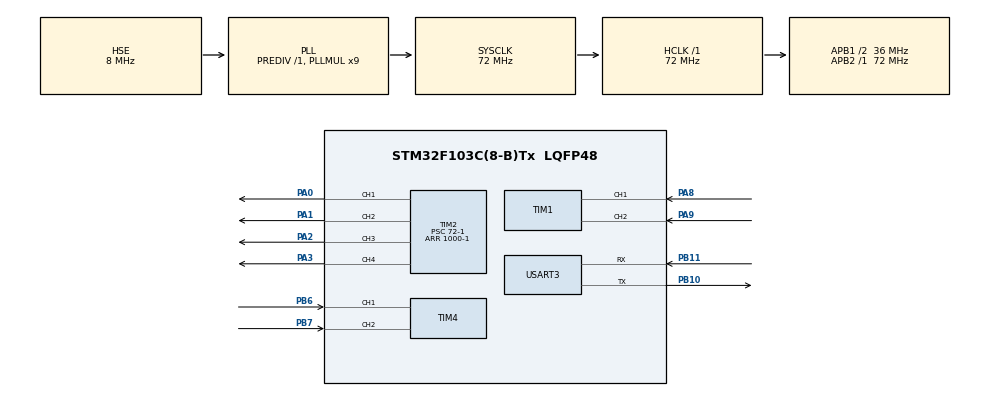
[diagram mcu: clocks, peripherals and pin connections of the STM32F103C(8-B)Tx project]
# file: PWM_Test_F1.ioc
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Mcu.Family=STM32F1
Mcu.Name=STM32F103C(8-B)Tx
Mcu.Package=LQFP48
NVIC.PriorityGroup=NVIC_PRIORITYGROUP_4
NVIC.TIM1_UP_IRQn=true\:0\:0\:false\:false\:true\:true\:true\:true
NVIC.TIM3_IRQn=true\:15\:0\:false\:false\:true\:true\:true\:true
NVIC.TIM4_IRQn=true\:0\:0\:false\:false\:true\:true\:true\:true
NVIC.TimeBase=TIM3_IRQn
NVIC.TimeBaseIP=TIM3
NVIC.USART3_IRQn=true\:0\:0\:false\:false\:true\:true\:true\:true
PA0-WKUP.Signal=S_TIM2_CH1_ETR
PA1.Signal=S_TIM2_CH2
PA13.Mode=Serial_Wire
PA13.Signal=SYS_JTMS-SWDIO
PA14.Mode=Serial_Wire
PA14.Signal=SYS_JTCK-SWCLK
PA2.Signal=S_TIM2_CH3
PA3.Signal=S_TIM2_CH4
PA8.GPIO_PuPd=GPIO_PULLUP
PA8.Signal=S_TIM1_CH1
PA9.GPIO_PuPd=GPIO_PULLUP
PA9.Signal=S_TIM1_CH2
PB10.Mode=Asynchronous
PB10.Signal=USART3_TX
PB11.Mode=Asynchronous
PB11.Signal=USART3_RX
PB6.GPIO_PuPd=GPIO_PULLUP
PB6.Signal=S_TIM4_CH1
PB7.GPIO_PuPd=GPIO_PULLUP
PB7.Signal=S_TIM4_CH2
PD0-OSC_IN.Mode=HSE-External-Oscillator
PD0-OSC_IN.Signal=RCC_OSC_IN
PD1-OSC_OUT.Mode=HSE-External-Oscillator
PD1-OSC_OUT.Signal=RCC_OSC_OUT
ProjectManager.HeapSize=0x200
ProjectManager.StackSize=0x400
ProjectManager.TargetToolchain=STM32CubeIDE
RCC.AHBFreq_Value=72000000
RCC.APB1CLKDivider=RCC_HCLK_DIV2
RCC.APB1Freq_Value=36000000
RCC.APB1TimFreq_Value=72000000
RCC.APB2Freq_Value=72000000
RCC.APB2TimFreq_Value=72000000
RCC.HCLKFreq_Value=72000000
RCC.PLLMUL=RCC_PLL_MUL9
RCC.PLLSourceVirtual=RCC_PLLSOURCE_HSE
RCC.SYSCLKFreq_VALUE=72000000
RCC.SYSCLKSource=RCC_SYSCLKSOURCE_PLLCLK
RCC.USBFreq_Value=72000000
SH.S_TIM1_CH1.0=TIM1_CH1,Encoder_Interface
SH.S_TIM1_CH2.0=TIM1_CH2,Encoder_Interface
SH.S_TIM2_CH1_ETR.0=TIM2_CH1,PWM Generation1 CH1
SH.S_TIM2_CH2.0=TIM2_CH2,PWM Generation2 CH2
SH.S_TIM2_CH3.0=TIM2_CH3,PWM Generation3 CH3
SH.S_TIM2_CH4.0=TIM2_CH4,PWM Generation4 CH4
SH.S_TIM4_CH1.0=TIM4_CH1,Encoder_Interface
SH.S_TIM4_CH2.0=TIM4_CH2,Encoder_Interface
TIM1.EncoderMode=TIM_ENCODERMODE_TI12
TIM2.Channel-PWM\ Generation1\ CH1=TIM_CHANNEL_1
TIM2.Channel-PWM\ Generation2\ CH2=TIM_CHANNEL_2
TIM2.Channel-PWM\ Generation3\ CH3=TIM_CHANNEL_3
TIM2.Channel-PWM\ Generation4\ CH4=TIM_CHANNEL_4
TIM2.Period=1000-1
TIM2.Prescaler=72-1
TIM4.EncoderMode=TIM_ENCODERMODE_TI12
USART3.VirtualMode=VM_ASYNC
VP_SYS_VS_tim3.Mode=TIM3
board=custom

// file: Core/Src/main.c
/* USER CODE BEGIN Header */
/**
  ******************************************************************************
  * @file           : main.c
  * @brief          : Main program body
  ******************************************************************************
  * @attention
  *
  * Copyright (c) 2025 STMicroelectronics.
  * All rights reserved.
  *
  * This software is licensed under terms that can be found in the LICENSE file
  * in the root directory of this software component.
  * If no LICENSE file comes with this software, it is provided AS-IS.
  *
  ******************************************************************************
  */
/* USER CODE END Header */
#include "main.h"

/* USER CODE BEGIN Includes */
#include "stdlib.h"
#include "math.h"
/* USER CODE END Includes */

TIM_HandleTypeDef htim1;
TIM_HandleTypeDef htim2;
TIM_HandleTypeDef htim4;

UART_HandleTypeDef huart3;

/* USER CODE BEGIN PV */
float counter;
char buffer[50];
int16_t left_speed, right_speed;

typedef struct Motor
{
	TIM_HandleTypeDef *htim;
	uint16_t CH1, CH2;
	uint16_t speed;
} Motor;

Motor motor_left;
Motor motor_right;

typedef struct Encoder
{
	TIM_HandleTypeDef *htim;
	uint32_t xung;
	int xung_x4, pre_xung_x4;
	float real_vel, fil_vel, pre_vel, target_vel;
	float angle, target_angle;
	float d;
	float target_quang_duong;
	float quang_duong;
	float delta_T;
	uint16_t CPR;
} Encoder;

Encoder encoder_1;
Encoder encoder_2;

typedef struct PID
{
	float target, current;
	float kP, kI, kD;
	float uP, uI, pre_uI, uD, u, u_fil;
	float err, pre_err;
	float deltaT;
	float above_limit, below_limit;
} PID;

PID pid_speed_1;
PID pid_speed_2;
PID pid_position_1;
PID pid_position_2;
/* USER CODE END PV */

void SystemClock_Config(void);
static void MX_GPIO_Init(void);
static void MX_TIM2_Init(void);
static void MX_TIM4_Init(void);
static void MX_TIM1_Init(void);
static void MX_USART3_UART_Init(void);

/* USER CODE BEGIN 0 */
void MotorInit(Motor *motor, TIM_HandleTypeDef *htim, uint16_t CH1, uint16_t CH2)
{
	motor -> htim = htim;
	motor -> CH1 = CH1;
	motor -> CH2 = CH2;
	HAL_TIM_PWM_Start(motor -> htim, motor -> CH1);
	HAL_TIM_PWM_Start(motor -> htim, motor -> CH2);
}

void drive(Motor *motor, int16_t speed)
{
	if(speed > 0)
	{
		__HAL_TIM_SET_COMPARE(motor->htim, motor->CH1, speed);
		__HAL_TIM_SET_COMPARE(motor->htim, motor->CH2, 0);

	}
	else if(speed < 0)
	{
		__HAL_TIM_SET_COMPARE(motor->htim, motor->CH1, 0);
		__HAL_TIM_SET_COMPARE(motor->htim, motor->CH2, abs(speed));
	}
	else
	{
		__HAL_TIM_SET_COMPARE(motor->htim, motor->CH1, 0);
		__HAL_TIM_SET_COMPARE(motor->htim, motor->CH2, 0);
	}
}

void EncoderInit(Encoder *enc, TIM_HandleTypeDef *htim, float d, float delta_T, uint16_t CPR)
{
	enc->htim = htim;
	enc->d = d;
	enc->delta_T = delta_T;
	enc->CPR = CPR;
	HAL_TIM_Encoder_Start_IT(enc->htim, TIM_CHANNEL_ALL);
}

void EncoderRead(Encoder *enc)
{
	enc -> xung = __HAL_TIM_GET_COUNTER(enc -> htim);
	enc -> xung_x4 += (int16_t) enc -> xung;
	__HAL_TIM_SET_COUNTER(enc -> htim, 0);
	enc -> angle = enc -> xung_x4 * 360 / enc -> CPR;
	enc -> quang_duong = (enc -> xung_x4 / 4) * enc -> d * M_PI / enc -> CPR;
	enc -> real_vel = ((enc -> xung_x4 - enc -> pre_xung_x4)/ enc -> delta_T) / (enc -> CPR)*60/4;
	enc -> fil_vel = 0.854 * enc -> fil_vel + 0.0728 * enc -> real_vel + 0.078 * enc -> pre_vel;
	enc -> pre_vel = enc -> real_vel;
	enc -> pre_xung_x4 = enc -> xung_x4;
}

void PID_setParam(PID *pid, float kP, float kI, float kD, float deltaT, float above_limit, float below_limit)
{
	pid->kP = kP;
	pid->kI = kI;
	pid->kD = kD;
	pid->deltaT = deltaT;
	pid->above_limit = above_limit;
	pid->below_limit = below_limit;
}

void PID_Cal(PID *pid, float target, float current)
{
	pid->err = target - current;

//	if(abs(pid->err) < 0.5) pid->err = 0;

	pid->uP = pid->kP * pid->err;
	pid->uI = pid->pre_uI + pid->kI * pid->err * pid->deltaT;
	pid->uI = (pid->uI > pid->above_limit) ? pid->above_limit : (pid->uI < pid->below_limit) ? pid->below_limit : pid->uI;

	pid->uD = pid->kD * (pid->err - pid->pre_err) / pid->deltaT;

	pid->pre_err = pid->err;
	pid->pre_uI = pid->uI;

	pid->u = pid->uP + pid->uI + pid->uD;
	pid->u = (pid->u > pid->above_limit) ? pid->above_limit : (pid->u < pid->below_limit) ? pid->below_limit : pid->u;
}
void LowPassFilter(float input, float alpha, float *filtered_value)
{
    *filtered_value = alpha * input + (1.0f - alpha) * (*filtered_value);
}

void PID_Speed(PID *pid_speed, Encoder *enc, Motor *motor)
{
	PID_Cal(pid_speed, enc->target_vel, enc->real_vel);
	LowPassFilter(pid_speed->u, 0.1f, &pid_speed->u_fil);
	drive(motor, pid_speed->u_fil);
}

void PID_Position(PID *pid_position, PID *pid_speed, Encoder *enc, Motor *motor)
{
	PID_Cal(pid_position, enc->target_quang_duong, enc->quang_duong);
	LowPassFilter(pid_position->u, 0.03f, &pid_position->u_fil);

	drive(motor, pid_position->u_fil);
//	enc -> target_vel = pid_position -> u;
//	PID_Speed(pid_speed, enc, motor);
}

/* USER CODE END 0 */

int main(void)
{

  /* MCU Configuration--------------------------------------------------------*/

  /* Reset of all peripherals, Initializes the Flash interface and the Systick. */
  HAL_Init();

  /* Configure the system clock */
  SystemClock_Config();

  /* Initialize all configured peripherals */
  MX_GPIO_Init();
  MX_TIM2_Init();
  MX_TIM4_Init();
  MX_TIM1_Init();
  MX_USART3_UART_Init();
  /* USER CODE BEGIN 2 */
  EncoderInit(&encoder_1, &htim1, 34.0, 0.001, 4096);
  EncoderInit(&encoder_2, &htim4, 34.0, 0.001, 4096);
  MotorInit(&motor_left, &htim2, TIM_CHANNEL_1, TIM_CHANNEL_2);
  MotorInit(&motor_right, &htim2, TIM_CHANNEL_3, TIM_CHANNEL_4);
//  PID_setParam(&pid_speed_2, 17.5549127919031, 254.606072797274, 0.101939398615924, 0.001, 1000, -1000);
  PID_setParam(&pid_position_2, 202.957367753907, 182.290905755023, 20.0825908954933, 0.001, 1000, -1000);

  /* USER CODE END 2 */

  /* Infinite loop */
  while (1)
  {

    /* USER CODE BEGIN 3 */
	EncoderRead(&encoder_1);
	EncoderRead(&encoder_2);
	counter+=0.005;
	sprintf(buffer, "%f, %f\n", counter, encoder_2.fil_vel);
	HAL_UART_Transmit(&huart3, (uint8_t *) buffer, sizeof(buffer), HAL_MAX_DELAY);
	for(uint8_t i = 0; i < sizeof(buffer); i++) buffer[i] = 0;
//	PID_Speed(&pid_speed_2, &encoder_2, &motor_left);
	PID_Position(&pid_position_2, &pid_speed_2, &encoder_2, &motor_left);
  }
  /* USER CODE END 3 */
}

void SystemClock_Config(void)
{
  RCC_OscInitTypeDef RCC_OscInitStruct = {0};
  RCC_ClkInitTypeDef RCC_ClkInitStruct = {0};

  /** Initializes the RCC Oscillators according to the specified parameters
  * in the RCC_OscInitTypeDef structure.
  */
  RCC_OscInitStruct.OscillatorType = RCC_OSCILLATORTYPE_HSE;
  RCC_OscInitStruct.HSEState = RCC_HSE_ON;
  RCC_OscInitStruct.HSEPredivValue = RCC_HSE_PREDIV_DIV1;
  RCC_OscInitStruct.HSIState = RCC_HSI_ON;
  RCC_OscInitStruct.PLL.PLLState = RCC_PLL_ON;
  RCC_OscInitStruct.PLL.PLLSource = RCC_PLLSOURCE_HSE;
  RCC_OscInitStruct.PLL.PLLMUL = RCC_PLL_MUL9;
  if (HAL_RCC_OscConfig(&RCC_OscInitStruct) != HAL_OK)
  {
    Error_Handler();
  }

  /** Initializes the CPU, AHB and APB buses clocks
  */
  RCC_ClkInitStruct.ClockType = RCC_CLOCKTYPE_HCLK|RCC_CLOCKTYPE_SYSCLK
                              |RCC_CLOCKTYPE_PCLK1|RCC_CLOCKTYPE_PCLK2;
  RCC_ClkInitStruct.SYSCLKSource = RCC_SYSCLKSOURCE_PLLCLK;
  RCC_ClkInitStruct.AHBCLKDivider = RCC_SYSCLK_DIV1;
  RCC_ClkInitStruct.APB1CLKDivider = RCC_HCLK_DIV2;
  RCC_ClkInitStruct.APB2CLKDivider = RCC_HCLK_DIV1;

  if (HAL_RCC_ClockConfig(&RCC_ClkInitStruct, FLASH_LATENCY_2) != HAL_OK)
  {
    Error_Handler();
  }
}

static void MX_TIM1_Init(void)
{

  TIM_Encoder_InitTypeDef sConfig = {0};
  TIM_MasterConfigTypeDef sMasterConfig = {0};

  htim1.Instance = TIM1;
  htim1.Init.Prescaler = 0;
  htim1.Init.CounterMode = TIM_COUNTERMODE_UP;
  htim1.Init.Period = 65535;
  htim1.Init.ClockDivision = TIM_CLOCKDIVISION_DIV1;
  htim1.Init.RepetitionCounter = 0;
  htim1.Init.AutoReloadPreload = TIM_AUTORELOAD_PRELOAD_DISABLE;
  sConfig.EncoderMode = TIM_ENCODERMODE_TI12;
  sConfig.IC1Polarity = TIM_ICPOLARITY_RISING;
  sConfig.IC1Selection = TIM_ICSELECTION_DIRECTTI;
  sConfig.IC1Prescaler = TIM_ICPSC_DIV1;
  sConfig.IC1Filter = 0;
  sConfig.IC2Polarity = TIM_ICPOLARITY_RISING;
  sConfig.IC2Selection = TIM_ICSELECTION_DIRECTTI;
  sConfig.IC2Prescaler = TIM_ICPSC_DIV1;
  sConfig.IC2Filter = 0;
  if (HAL_TIM_Encoder_Init(&htim1, &sConfig) != HAL_OK)
  {
    Error_Handler();
  }
  sMasterConfig.MasterOutputTrigger = TIM_TRGO_RESET;
  sMasterConfig.MasterSlaveMode = TIM_MASTERSLAVEMODE_DISABLE;
  if (HAL_TIMEx_MasterConfigSynchronization(&htim1, &sMasterConfig) != HAL_OK)
  {
    Error_Handler();
  }

}

static void MX_TIM2_Init(void)
{

  TIM_MasterConfigTypeDef sMasterConfig = {0};
  TIM_OC_InitTypeDef sConfigOC = {0};

  htim2.Instance = TIM2;
  htim2.Init.Prescaler = 72-1;
  htim2.Init.CounterMode = TIM_COUNTERMODE_UP;
  htim2.Init.Period = 1000-1;
  htim2.Init.ClockDivision = TIM_CLOCKDIVISION_DIV1;
  htim2.Init.AutoReloadPreload = TIM_AUTORELOAD_PRELOAD_DISABLE;
  if (HAL_TIM_PWM_Init(&htim2) != HAL_OK)
  {
    Error_Handler();
  }
  sMasterConfig.MasterOutputTrigger = TIM_TRGO_RESET;
  sMasterConfig.MasterSlaveMode = TIM_MASTERSLAVEMODE_DISABLE;
  if (HAL_TIMEx_MasterConfigSynchronization(&htim2, &sMasterConfig) != HAL_OK)
  {
    Error_Handler();
  }
  sConfigOC.OCMode = TIM_OCMODE_PWM1;
  sConfigOC.Pulse = 0;
  sConfigOC.OCPolarity = TIM_OCPOLARITY_HIGH;
  sConfigOC.OCFastMode = TIM_OCFAST_DISABLE;
  if (HAL_TIM_PWM_ConfigChannel(&htim2, &sConfigOC, TIM_CHANNEL_1) != HAL_OK)
  {
    Error_Handler();
  }
  if (HAL_TIM_PWM_ConfigChannel(&htim2, &sConfigOC, TIM_CHANNEL_2) != HAL_OK)
  {
    Error_Handler();
  }
  if (HAL_TIM_PWM_ConfigChannel(&htim2, &sConfigOC, TIM_CHANNEL_3) != HAL_OK)
  {
    Error_Handler();
  }
  if (HAL_TIM_PWM_ConfigChannel(&htim2, &sConfigOC, TIM_CHANNEL_4) != HAL_OK)
  {
    Error_Handler();
  }
  HAL_TIM_MspPostInit(&htim2);

}

static void MX_TIM4_Init(void)
{

  TIM_Encoder_InitTypeDef sConfig = {0};
  TIM_MasterConfigTypeDef sMasterConfig = {0};

  htim4.Instance = TIM4;
  htim4.Init.Prescaler = 0;
  htim4.Init.CounterMode = TIM_COUNTERMODE_UP;
  htim4.Init.Period = 65535;
  htim4.Init.ClockDivision = TIM_CLOCKDIVISION_DIV1;
  htim4.Init.AutoReloadPreload = TIM_AUTORELOAD_PRELOAD_DISABLE;
  sConfig.EncoderMode = TIM_ENCODERMODE_TI12;
  sConfig.IC1Polarity = TIM_ICPOLARITY_RISING;
  sConfig.IC1Selection = TIM_ICSELECTION_DIRECTTI;
  sConfig.IC1Prescaler = TIM_ICPSC_DIV1;
  sConfig.IC1Filter = 0;
  sConfig.IC2Polarity = TIM_ICPOLARITY_RISING;
  sConfig.IC2Selection = TIM_ICSELECTION_DIRECTTI;
  sConfig.IC2Prescaler = TIM_ICPSC_DIV1;
  sConfig.IC2Filter = 0;
  if (HAL_TIM_Encoder_Init(&htim4, &sConfig) != HAL_OK)
  {
    Error_Handler();
  }
  sMasterConfig.MasterOutputTrigger = TIM_TRGO_RESET;
  sMasterConfig.MasterSlaveMode = TIM_MASTERSLAVEMODE_DISABLE;
  if (HAL_TIMEx_MasterConfigSynchronization(&htim4, &sMasterConfig) != HAL_OK)
  {
    Error_Handler();
  }

}

static void MX_USART3_UART_Init(void)
{

  huart3.Instance = USART3;
  huart3.Init.BaudRate = 115200;
  huart3.Init.WordLength = UART_WORDLENGTH_8B;
  huart3.Init.StopBits = UART_STOPBITS_1;
  huart3.Init.Parity = UART_PARITY_NONE;
  huart3.Init.Mode = UART_MODE_TX_RX;
  huart3.Init.HwFlowCtl = UART_HWCONTROL_NONE;
  huart3.Init.OverSampling = UART_OVERSAMPLING_16;
  if (HAL_UART_Init(&huart3) != HAL_OK)
  {
    Error_Handler();
  }

}

static void MX_GPIO_Init(void)
{

  /* GPIO Ports Clock Enable */
  __HAL_RCC_GPIOD_CLK_ENABLE();
  __HAL_RCC_GPIOA_CLK_ENABLE();
  __HAL_RCC_GPIOB_CLK_ENABLE();

}

void HAL_TIM_PeriodElapsedCallback(TIM_HandleTypeDef *htim)
{
  if (htim->Instance == TIM3)
  {
    HAL_IncTick();
  }
}

void Error_Handler(void)
{
  __disable_irq();
  while (1)
  {
  }
}
